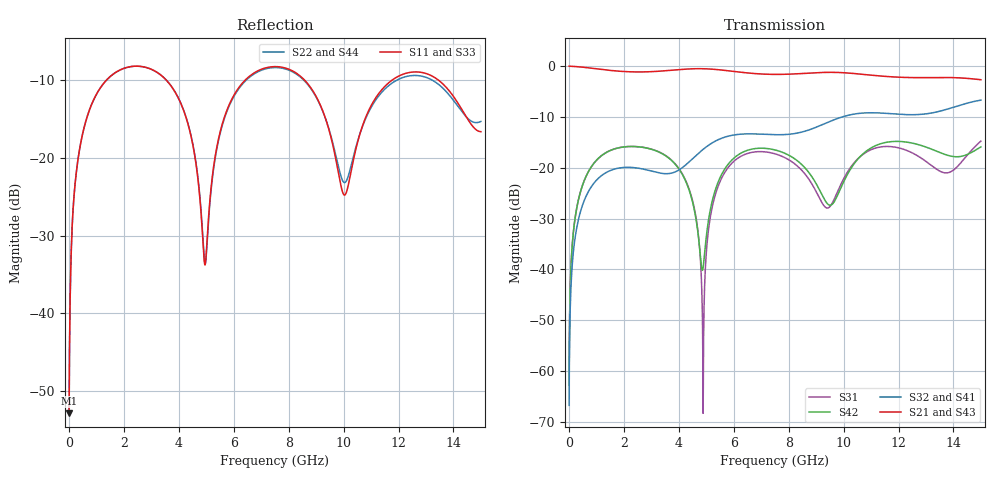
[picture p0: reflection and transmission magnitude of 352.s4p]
! Created with skrf 1.8.0 (http://scikit-rf.org).
# GHz S RI R 50.0
!freq ReS11 ImS11 ReS12 ImS12 ReS13 ImS13
! ReS14 ImS14
! ReS21 ImS21 ReS22 ImS22 ReS23 ImS23
! ReS24 ImS24
! ReS31 ImS31 ReS32 ImS32 ReS33 ImS33
! ReS34 ImS34
! ReS41 ImS41 ReS42 ImS42 ReS43 ImS43
! ReS44 ImS44
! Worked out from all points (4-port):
!   2499 points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, 5 MHz to 15 GHz, reference 50 ohm
!   strongest paths, dB at 5 MHz, 3.476 GHz, 7.19 GHz, 11.1 GHz, 15 GHz:
!     S21: 0.0, -0.9, -1.6, -1.8, -2.7
!     S43: 0.0, -0.9, -1.6, -1.8, -2.7
!     S32: -66.8, -21.2, -13.4, -9.2, -6.7
!     S41: -66.8, -21.3, -13.5, -9.2, -6.7
!     S42: -62.8, -17.5, -16.2, -15.8, -15.9
!     S31: -62.8, -17.5, -16.9, -16.2, -14.8
!   lowest |S11| = -52.9 dB at 5 MHz (marker M1), VSWR 1.00, Z = 50.2 + j0.138 ohm
!   |S11| at or under -10 dB: 3.555 GHz to 6.404 GHz (2.849 GHz wide, 57.2 % of centre); 8.591 GHz to 11.75 GHz (3.159 GHz wide, 31.1 % of centre); 13.47 GHz to end of sweep (the widest 3 of 4)
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0.005  0.0018 0.00137  0.9982 -0.00351  9.12e-05 0.000718  -8.85e-05 -0.00045
       0.9982 -0.00351  0.0018 0.00137  -8.86e-05 -0.00045  9.12e-05 0.000718
       9.12e-05 0.000718  -8.86e-05 -0.00045  0.0018 0.00137  0.9982 -0.00351
       -8.85e-05 -0.00045  9.12e-05 0.000718  0.9982 -0.00351  0.0018 0.00137
1.469362  0.2829 0.1724  0.5208 -0.745  0.1343 0.0583  -0.0928 -0.00129
          0.5208 -0.745  0.2829 0.1724  -0.0929 -0.00108  0.134 0.0586
          0.1343 0.0583  -0.0929 -0.00108  0.2828 0.1725  0.5208 -0.745
          -0.0928 -0.00129  0.134 0.0586  0.5208 -0.745  0.2831 0.1723
4.139225  0.128 -0.1674  -0.7512 -0.5465  0.0342 -0.0788  -0.041 0.0913
          -0.7512 -0.5465  0.1285 -0.1677  -0.039 0.0928  0.0399 -0.0748
          0.0342 -0.0788  -0.039 0.0928  0.1292 -0.1667  -0.7511 -0.5464
          -0.041 0.0913  0.0399 -0.0748  -0.7511 -0.5464  0.1277 -0.169
4.889537  0.0212 -0.0164  -0.9343 -0.1187  -0.000156 0.000548  -0.0162 0.1512
          -0.9343 -0.1187  0.0216 -0.018  -0.0127 0.1515  0.0105 0.00186
          -0.000156 0.000548  -0.0127 0.1515  0.0231 -0.0166  -0.9343 -0.1187
          -0.0162 0.1512  0.0105 0.00186  -0.9343 -0.1187  0.0199 -0.0187
5.95248  0.1646 0.18  -0.7489 0.4793  0.0982 0.0542  0.1354 0.1584
         -0.7489 0.4793  0.1612 0.1775  0.1393 0.1555  0.1113 0.0463
         0.0982 0.0542  0.1393 0.1555  0.1656 0.1784  -0.7488 0.4795
         0.1354 0.1584  0.1113 0.0463  -0.7488 0.4795  0.16 0.1785
10.06044  0.058 0.0032  0.8541 0.0853  0.000468 0.0831  0.0307 -0.3213
          0.8541 0.0853  0.0697 0.002  0.0173 -0.322  0.0037 0.0781
          0.000468 0.0831  0.0173 -0.322  0.0614 0.00101  0.8541 0.0847
          0.0307 -0.3213  0.0037 0.0781  0.8541 0.0847  0.0666 0.00204
15  0.1467 -0.0181  -0.7159 -0.1612  -0.0302 0.1803  -0.1118 0.449
    -0.7159 -0.1612  0.1722 -0.000998  -0.086 0.4542  -0.0566 0.15
    -0.0302 0.1803  -0.086 0.4542  0.147 -0.0239  -0.7166 -0.1581
    -0.1118 0.449  -0.0566 0.15  -0.7166 -0.1581  0.1702 0.00582
